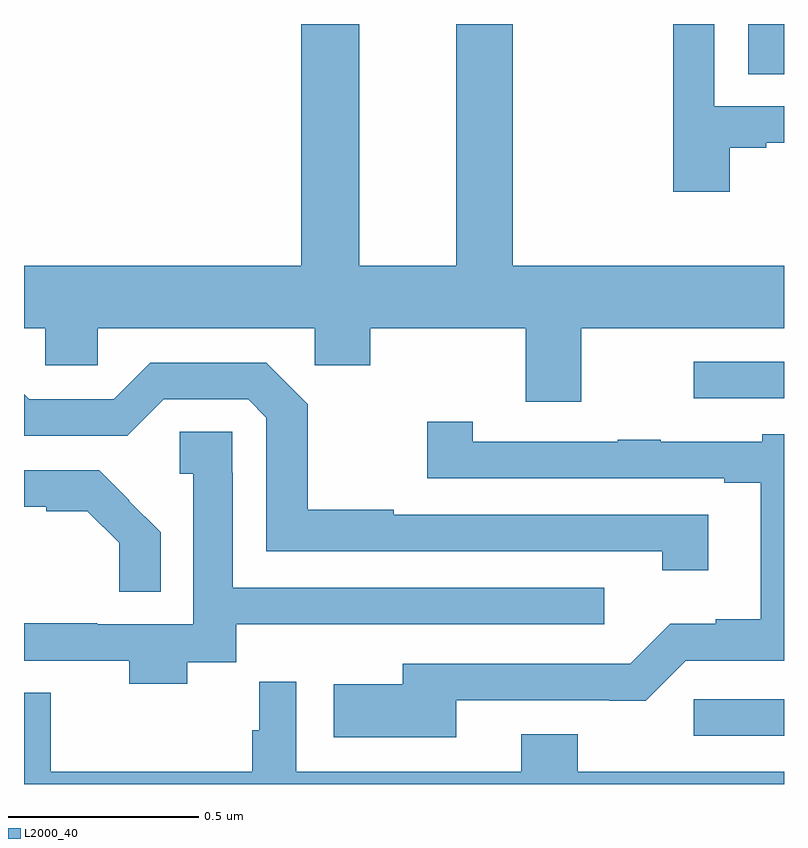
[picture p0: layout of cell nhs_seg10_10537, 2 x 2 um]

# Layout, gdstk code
import gdstk
lib = gdstk.Library(unit=1e-6, precision=1e-09)
def R(c, l, rs):  # rectangles x0, y0, x1, y1
    for r in rs: c.add(gdstk.rectangle(r[:2], r[2:], *l))
def P(c, l, *ps):  # polygons
    for p in ps: c.add(gdstk.Polygon(p, *l))
L2000_40 = (2000, 40)

nhs_seg10_10537 = lib.new_cell('nhs_seg10_10537')
R(nhs_seg10_10537, L2000_40, [(245.763,1248.627,246,1248.723), (245.763,1249.515,246,1249.611), (245.906,1250.368,246,1250.5)])
P(nhs_seg10_10537, L2000_40, [(245.467,1249.7),(246,1249.7),(246,1249.864),(245.286,1249.864),(245.286,1250.5),(245.138,1250.5),(245.138,1249.864),(244.882,1249.864),(244.882,1250.5),(244.73,1250.5),(244.73,1249.864),(244,1249.864),(244,1249.7),(244.056,1249.7),(244.056,1249.602),(244.194,1249.602),(244.194,1249.7),(244.765,1249.7),(244.765,1249.602),(244.911,1249.602),(244.911,1249.7),(245.32,1249.7),(245.32,1249.506),(245.467,1249.506)],
  [(245.857,1250.175),(245.953,1250.175),(245.953,1250.187),(246,1250.187),(246,1250.283),(245.817,1250.283),(245.817,1250.5),(245.709,1250.5),(245.709,1250.058),(245.857,1250.058)],
  [(245.8,1249.209),(244.973,1249.209),(244.973,1249.222),(244.747,1249.222),(244.747,1249.499),(244.638,1249.608),(244.332,1249.608),(244.236,1249.512),(244.014,1249.512),(244,1249.526),(244,1249.416),(244.272,1249.416),(244.368,1249.512),(244.59,1249.512),(244.638,1249.464),(244.638,1249.113),(245.679,1249.113),(245.679,1249.062),(245.8,1249.062)],
  [(245.137,1248.72),(245.54,1248.72),(245.54,1248.719),(245.636,1248.719),(245.742,1248.825),(246,1248.825),(246,1249.42),(245.943,1249.42),(245.943,1249.401),(245.675,1249.401),(245.675,1249.406),(245.563,1249.406),(245.563,1249.401),(245.181,1249.401),(245.181,1249.453),(245.061,1249.453),(245.061,1249.305),(245.843,1249.305),(245.843,1249.293),(245.939,1249.293),(245.939,1248.934),(245.82,1248.934),(245.82,1248.922),(245.701,1248.922),(245.595,1248.816),(244.997,1248.816),(244.997,1248.763),(244.815,1248.763),(244.815,1248.623),(245.137,1248.623)],
  [(244.429,1248.821),(244.558,1248.821),(244.558,1248.92),(244.827,1248.92),(244.827,1248.921),(245.527,1248.921),(245.527,1249.017),(244.549,1249.017),(244.549,1249.319),(244.548,1249.319),(244.548,1249.427),(244.41,1249.427),(244.41,1249.316),(244.445,1249.316),(244.445,1248.921),(244.193,1248.921),(244.193,1248.923),(244,1248.923),(244,1248.825),(244.277,1248.825),(244.277,1248.764),(244.429,1248.764)],
  [(244.36,1249.163),(244.276,1249.246),(244.277,1249.247),(244.198,1249.326),(244,1249.326),(244,1249.229),(244.058,1249.229),(244.058,1249.218),(244.167,1249.218),(244.251,1249.135),(244.251,1249.006),(244.36,1249.006)],
  [(246,1248.532),(245.457,1248.532),(245.457,1248.631),(245.309,1248.631),(245.309,1248.532),(244.716,1248.532),(244.716,1248.769),(244.619,1248.769),(244.619,1248.642),(244.6,1248.642),(244.6,1248.532),(244.07,1248.532),(244.07,1248.74),(244,1248.74),(244,1248.5),(246,1248.5)])

lib.write_gds('nhs_seg10_10537.gds')
